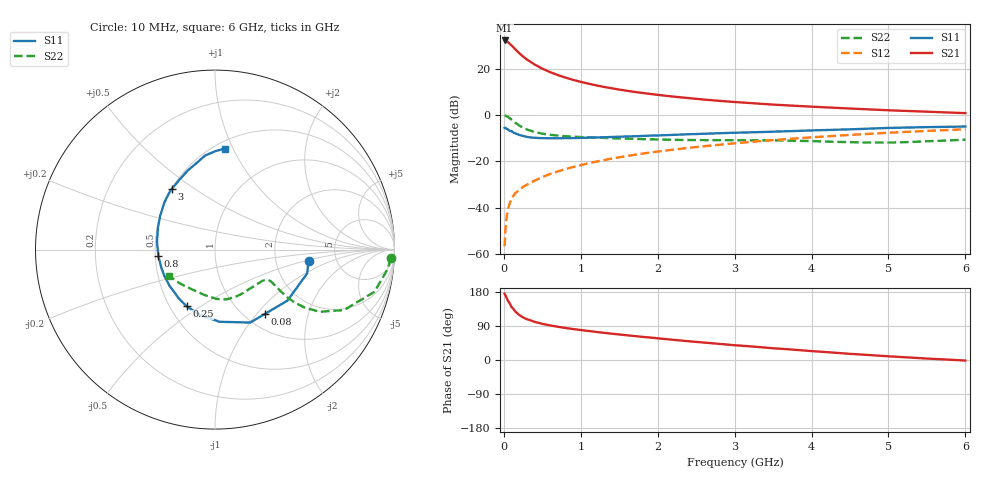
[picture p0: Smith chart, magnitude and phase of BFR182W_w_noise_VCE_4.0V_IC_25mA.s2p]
! (c) 2017  Infineon Technologies AG, Munich
! Infineon Technologies  Discrete & RF Semiconductors
! BFR182W
! VCE =  4.0 V,  IC =  25 mA
! Common Emitter S-Parameters:  Jan 2017
# GHz  S  MA  R  50
!  f  S11  S21  S12  S22
! GHz  MAG  ANG  MAG  ANG  MAG  ANG  MAG  ANG
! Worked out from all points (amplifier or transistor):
!   77 points, 10 MHz to 6 GHz, reference 50 ohm
!   highest |S21| = 32.1 dB at 10 MHz (marker M1)
!   |S21| within 3 dB of that: start of sweep to 125.6 MHz
!   unconditionally stable (mu >= 1): 745.2 MHz to 2.287 GHz
!   at 130 MHz: K = 0.46, MSG = 31.7 dB, |S12| = -34.5 dB
!   at 2.2 GHz: K = 1.01, MAG = 10.9 dB, |S12| = -14.9 dB
!   at 6 GHz: K = 0.86, MSG = 3.5 dB, |S12| = -6.2 dB
!   lowest NFmin = 1.56 dB at 450 MHz
!   S11 on the Smith chart (normalised r, x): 10 MHz: 3.10, -0.56; 80 MHz: 1.23, -1.11; 250 MHz: 0.61, -0.44; 800 MHz: 0.52, -0.04; 3 GHz: 0.50, +0.41; 6 GHz: 0.56, +0.93
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0.01  0.5251 -7.2  40.2 175.0  0.0015 93.0  0.9792 -2.8
0.02  0.5303 -14.5  40.2 170.7  0.0033 88.9  0.9697 -6.2
0.05  0.4937 -35.1  37.49 157.6  0.0087 77.8  0.9194 -14.8
0.08  0.4538 -52.0  33.53 147.8  0.013 72.2  0.8408 -20.6
0.1  0.4516 -64.2  31.55 140.0  0.0159 70.1  0.794 -25.1
0.15  0.4029 -86.4  25.84 127.6  0.0208 65.5  0.6794 -30.7
0.2  0.3727 -103.4  21.41 118.9  0.0241 65.6  0.5938 -32.9
0.25  0.353 -116.7  18.15 112.3  0.0284 63.9  0.5315 -33.6
0.3  0.3381 -126.9  15.6 107.6  0.0316 65.4  0.4858 -33.5
0.4  0.3236 -141.9  12.17 100.5  0.0385 67.5  0.4298 -32.3
0.5  0.3177 -152.9  9.932 95.4  0.0461 68.6  0.396 -31.2
0.6  0.3155 -161.4  8.395 91.2  0.0536 69.6  0.3747 -30.2
0.7  0.315 -168.0  7.25 87.8  0.0609 70.7  0.3607 -29.7
0.8  0.318 -173.8  6.394 84.5  0.0687 71.3  0.3499 -29.6
1.1  0.3258 172.3  4.722 76.6  0.0916 71.5  0.3304 -30.7
1.5  0.3404 159.0  3.523 67.4  0.1227 70.3  0.3125 -34.8
2.1  0.3675 143.6  2.599 55.3  0.1712 67.2  0.2946 -45.6
3  0.4147 125.7  1.904 39.0  0.2454 60.6  0.2863 -66.0
3.1  0.4184 123.8  1.855 37.6  0.2537 59.7  0.2852 -68.1
4.1  0.4701 107.8  1.482 22.1  0.3387 51.0  0.2709 -90.7
5.1  0.5307 94.7  1.245 8.6  0.4219 41.2  0.257 -122.9
6  0.5646 84.6  1.097 -1.5  0.4924 31.8  0.2947 -150.3
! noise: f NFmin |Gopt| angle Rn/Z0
0.45  1.56  0.16  -169  0.15
0.9  1.65  0.17  -163  0.16
1.9  2.18  0.33  -138  0.18
2.4  2.46  0.34  -127  0.29
